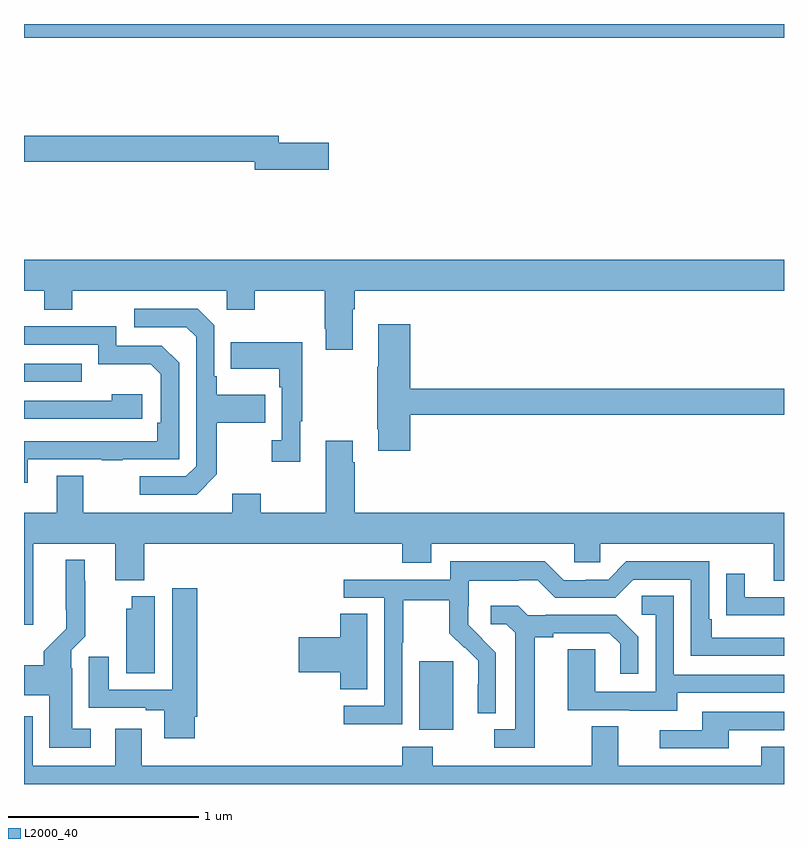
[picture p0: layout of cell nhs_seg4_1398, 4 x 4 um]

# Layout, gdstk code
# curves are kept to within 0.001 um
import gdstk
lib = gdstk.Library(unit=1e-6, precision=1e-09)
def R(c, l, rs):  # rectangles x0, y0, x1, y1
    for r in rs: c.add(gdstk.rectangle(r[:2], r[2:], *l))
def P(c, l, *ps):  # polygons
    for p in ps: c.add(gdstk.Polygon(p, *l))
L2000_40 = (2000, 40)

nhs_seg4_1398 = lib.new_cell('nhs_seg4_1398')
R(nhs_seg4_1398, L2000_40, [(185.081,785.186,185.26,785.547), (183,787.017,183.305,787.113), (183,788.828,187,788.9)])
P(nhs_seg4_1398, L2000_40, [(184.603,788.276),(184.342,788.276),(184.342,788.312),(183,788.312),(183,788.176),(184.214,788.176),(184.214,788.134),(184.603,788.134)],
  [(184.729,787.4),(184.742,787.4),(184.742,787.496),(187,787.496),(187,787.66),(183,787.66),(183,787.496),(183.107,787.496),(183.107,787.397),(183.255,787.397),(183.255,787.496),(184.068,787.496),(184.068,787.397),(184.215,787.397),(184.215,787.496),(184.582,787.496),(184.582,787.297),(184.589,787.297),(184.589,787.185),(184.729,787.185)],
  [(184.015,786.529),(184.015,786.802),(184.271,786.802),(184.271,786.949),(184.015,786.949),(184.015,787.045),(184.002,787.045),(184.002,787.314),(183.915,787.401),(183.579,787.401),(183.579,787.305),(183.855,787.305),(183.906,787.254),(183.906,786.573),(183.852,786.519),(183.609,786.519),(183.609,786.423),(183.909,786.423)],
  [(185.033,786.844),(187,786.844),(187,786.98),(185.033,786.98),(185.033,787.321),(184.865,787.321),(184.865,787.097),(184.858,787.097),(184.858,786.766),(184.865,786.766),(184.865,786.654),(185.033,786.654)],
  [(183.019,786.609),(183.409,786.609),(183.409,786.604),(183.521,786.604),(183.521,786.609),(183.816,786.609),(183.816,787.116),(183.726,787.206),(183.486,787.206),(183.486,787.308),(183,787.308),(183,787.212),(183.39,787.212),(183.39,787.109),(183.667,787.109),(183.72,787.056),(183.72,786.802),(183.7,786.802),(183.7,786.705),(183,786.704),(183,786.486),(183.019,786.486)],
  [(184.453,786.809),(184.465,786.809),(184.465,787.225),(184.087,787.225),(184.087,787.085),(184.344,787.085),(184.344,786.989),(184.356,786.989),(184.356,786.71),(184.305,786.71),(184.305,786.597),(184.453,786.597)],
  [(183.622,786.952),(183.461,786.952),(183.461,786.918),(183,786.918),(183,786.822),(183.622,786.822)],
  [(183.313,786.523),(183.173,786.523),(183.173,786.328),(183,786.328),(183,785.739),(183.049,785.739),(183.049,786.164),(183.479,786.164),(183.479,785.972),(183.632,785.972),(183.632,786.164),(184.991,786.164),(184.991,786.065),(185.143,786.065),(185.143,786.164),(185.895,786.164),(185.895,786.066),(186.033,786.066),(186.033,786.164),(186.947,786.164),(186.947,785.97),(187,785.97),(187,786.328),(184.742,786.328),(184.742,786.593),(184.729,786.593),(184.729,786.706),(184.589,786.706),(184.589,786.328),(184.245,786.328),(184.245,786.427),(184.097,786.427),(184.097,786.328),(183.313,786.328)],
  [(183.352,785.191),(183.253,785.191),(183.253,785.51),(183.249,785.51),(183.249,785.604),(183.323,785.678),(183.323,785.969),(183.319,785.969),(183.319,786.079),(183.221,786.079),(183.222,785.716),(183.104,785.598),(183.104,785.524),(183,785.524),(183,785.366),(183.134,785.366),(183.134,785.09),(183.352,785.09)],
  [(184.992,785.644),(184.995,785.644),(184.995,785.868),(185.239,785.868),(185.239,785.693),(185.316,785.616),(185.319,785.619),(185.39,785.549),(185.39,785.426),(185.388,785.426),(185.388,785.272),(185.484,785.272),(185.484,785.59),(185.338,785.738),(185.338,785.835),(185.34,785.835),(185.34,785.969),(185.603,785.969),(185.603,785.973),(185.703,785.973),(185.796,785.88),(186.111,785.88),(186.207,785.976),(186.51,785.976),(186.51,785.574),(187,785.574),(187,785.67),(186.619,785.67),(186.619,785.767),(186.606,785.767),(186.606,786.072),(186.171,786.072),(186.075,785.976),(185.957,785.976),(185.957,785.973),(185.841,785.973),(185.741,786.073),(185.244,786.073),(185.244,785.976),(184.683,785.976),(184.683,785.88),(184.896,785.88),(184.896,785.313),(184.683,785.313),(184.683,785.215),(184.992,785.215)],
  [(187,785.883),(186.793,785.883),(186.793,786.007),(186.697,786.007),(186.697,785.788),(186.799,785.788),(186.799,785.787),(187,785.787)],
  [(183.898,785.254),(183.911,785.254),(183.911,785.929),(183.779,785.929),(183.779,785.397),(183.445,785.397),(183.445,785.569),(183.341,785.569),(183.341,785.301),(183.641,785.301),(183.641,785.289),(183.737,785.289),(183.737,785.142),(183.898,785.142)],
  [(186.439,785.379),(187,785.379),(187,785.475),(186.42,785.475),(186.42,785.891),(186.252,785.891),(186.252,785.79),(186.324,785.79),(186.324,785.385),(186.006,785.385),(186.006,785.609),(185.861,785.609),(185.861,785.289),(186.185,785.289),(186.185,785.285),(186.439,785.285)],
  [(183.688,785.887),(183.566,785.887),(183.566,785.823),(183.539,785.823),(183.539,785.482),(183.688,785.482)],
  [(185.689,785.672),(185.785,785.672),(185.785,785.694),(186.08,785.694),(186.137,785.637),(186.137,785.481),(186.234,785.481),(186.234,785.674),(186.118,785.79),(185.746,785.79),(185.746,785.787),(185.652,785.787),(185.6,785.839),(185.457,785.839),(185.457,785.742),(185.538,785.742),(185.585,785.695),(185.585,785.187),(185.475,785.187),(185.475,785.091),(185.689,785.091)],
  [(184.807,785.795),(184.664,785.795),(184.664,785.672),(184.446,785.672),(184.446,785.489),(184.664,785.489),(184.664,785.398),(184.807,785.398)],
  [(186.709,785.184),(187,785.184),(187,785.28),(186.569,785.28),(186.569,785.184),(186.345,785.184),(186.345,785.088),(186.709,785.088)],
  [(187,785.095),(186.881,785.095),(186.881,784.996),(186.127,784.996),(186.127,785.204),(185.987,785.204),(185.987,784.996),(185.151,784.996),(185.151,785.095),(184.991,785.095),(184.991,784.996),(183.619,784.996),(183.619,785.191),(183.479,785.191),(183.479,784.996),(183.045,784.996),(183.045,785.257),(183,785.257),(183,784.9),(187,784.9)])

lib.write_gds('nhs_seg4_1398.gds')
